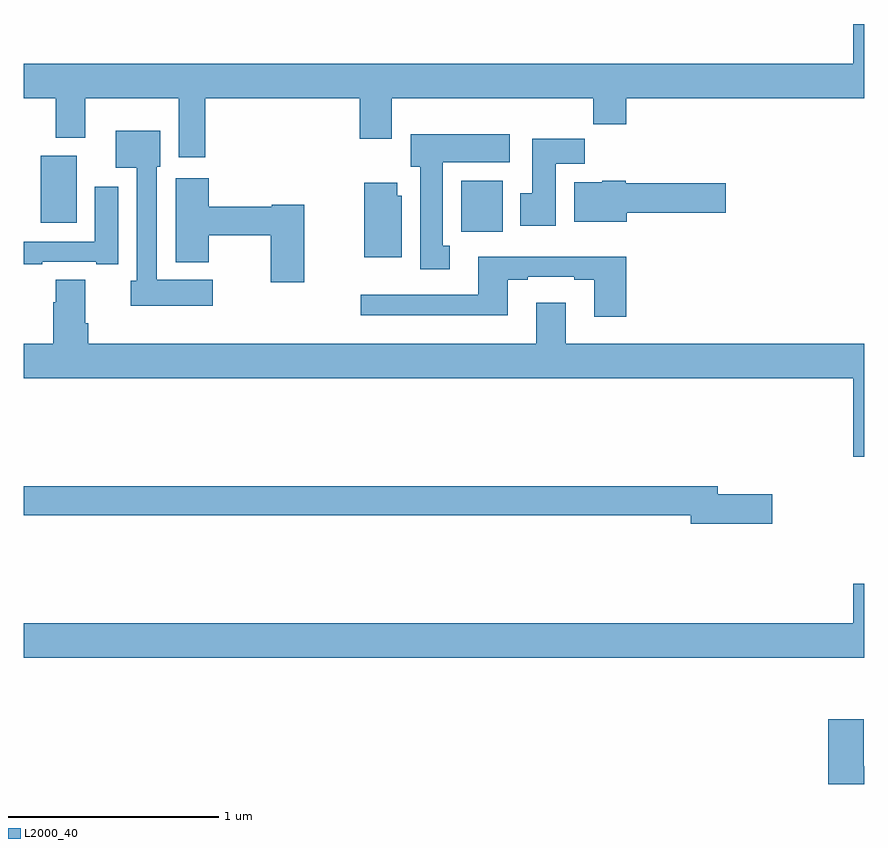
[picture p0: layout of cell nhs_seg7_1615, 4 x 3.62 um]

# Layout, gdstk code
import gdstk
lib = gdstk.Library(unit=1e-6, precision=1e-09)
def R(c, l, rs):  # rectangles x0, y0, x1, y1
    for r in rs: c.add(gdstk.rectangle(r[:2], r[2:], *l))
def P(c, l, *ps):  # polygons
    for p in ps: c.add(gdstk.Polygon(p, *l))
L2000_40 = (2000, 40)

nhs_seg7_1615 = lib.new_cell('nhs_seg7_1615')
R(nhs_seg7_1615, L2000_40, [(223.082,1018.628,223.279,1018.87), (221.081,1018.67,221.251,1018.99)])
P(nhs_seg7_1615, L2000_40, [(221.864,1019.264),(222.599,1019.264),(222.599,1019.07),(222.751,1019.07),(222.751,1019.264),(223.711,1019.264),(223.711,1019.14),(223.868,1019.14),(223.868,1019.264),(225,1019.264),(225,1019.617),(224.948,1019.617),(224.948,1019.428),(221,1019.428),(221,1019.264),(221.153,1019.264),(221.153,1019.075),(221.293,1019.075),(221.293,1019.264),(221.738,1019.264),(221.738,1018.983),(221.864,1018.983)],
  [(221.899,1018.399),(221.634,1018.399),(221.634,1018.938),(221.65,1018.938),(221.65,1019.11),(221.438,1019.11),(221.438,1018.934),(221.538,1018.934),(221.538,1018.395),(221.51,1018.395),(221.51,1018.277),(221.899,1018.277)],
  [(223.027,1018.562),(222.994,1018.562),(222.994,1018.958),(223.312,1018.958),(223.312,1019.092),(222.842,1019.092),(222.842,1018.938),(222.887,1018.938),(222.887,1018.449),(223.027,1018.449)],
  [(223.531,1018.952),(223.67,1018.952),(223.67,1019.071),(223.421,1019.071),(223.421,1018.812),(223.364,1018.812),(223.364,1018.656),(223.531,1018.656)],
  [(222.334,1018.756),(222.18,1018.756),(222.18,1018.748),(221.88,1018.748),(221.88,1018.882),(221.723,1018.882),(221.723,1018.484),(221.88,1018.484),(221.88,1018.612),(222.176,1018.612),(222.176,1018.389),(222.334,1018.389)],
  [(223.87,1018.718),(224.341,1018.718),(224.341,1018.86),(223.866,1018.86),(223.866,1018.87),(223.752,1018.87),(223.752,1018.864),(223.619,1018.864),(223.619,1018.676),(223.87,1018.676)],
  [(222.799,1018.8),(222.778,1018.8),(222.778,1018.861),(222.62,1018.861),(222.62,1018.508),(222.799,1018.508)],
  [(221.089,1018.485),(221.345,1018.485),(221.345,1018.473),(221.449,1018.473),(221.449,1018.843),(221.339,1018.843),(221.339,1018.581),(221,1018.581),(221,1018.473),(221.089,1018.473)],
  [(223.868,1018.51),(223.163,1018.51),(223.163,1018.329),(222.603,1018.329),(222.603,1018.232),(223.303,1018.232),(223.303,1018.401),(223.399,1018.401),(223.399,1018.413),(223.619,1018.413),(223.619,1018.401),(223.715,1018.401),(223.715,1018.224),(223.868,1018.224)],
  [(225,1018.096),(223.579,1018.096),(223.579,1018.291),(223.439,1018.291),(223.439,1018.096),(221.306,1018.096),(221.306,1018.192),(221.293,1018.192),(221.293,1018.4),(221.153,1018.4),(221.153,1018.292),(221.141,1018.292),(221.141,1018.096),(221,1018.096),(221,1017.932),(224.948,1017.932),(224.948,1017.558),(225,1017.558)],
  [(224.563,1017.38),(224.302,1017.38),(224.302,1017.416),(221,1017.416),(221,1017.28),(224.174,1017.28),(224.174,1017.238),(224.563,1017.238)],
  [(225,1016.953),(224.948,1016.953),(224.948,1016.764),(221,1016.764),(221,1016.6),(225,1016.6)],
  [(225,1016.084),(224.998,1016.084),(224.998,1016.308),(224.828,1016.308),(224.828,1016),(225,1016)])

lib.write_gds('nhs_seg7_1615.gds')
